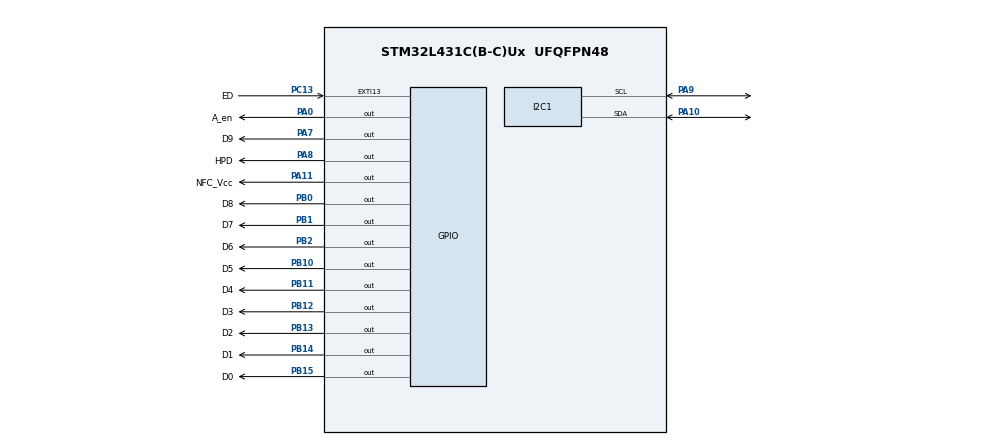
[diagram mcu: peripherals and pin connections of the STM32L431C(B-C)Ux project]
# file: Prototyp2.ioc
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ADC1.Channel-0\#ChannelRegularConversion=ADC_CHANNEL_VREFINT
ADC1.ClockPrescaler=ADC_CLOCK_ASYNC_DIV2
ADC1.NbrOfConversionFlag=1
ADC1.OffsetNumber-0\#ChannelRegularConversion=ADC_OFFSET_NONE
ADC1.Rank-0\#ChannelRegularConversion=1
ADC1.SamplingTime-0\#ChannelRegularConversion=ADC_SAMPLETIME_2CYCLES_5
ADC1.master=1
I2C1.Timing=0x00100D14
Mcu.Family=STM32L4
Mcu.Name=STM32L431C(B-C)Ux
Mcu.Package=UFQFPN48
NVIC.EXTI15_10_IRQn=true\:0\:0\:false\:false\:true\:true\:true\:true
NVIC.PriorityGroup=NVIC_PRIORITYGROUP_4
PA0.GPIO_Label=A_en
PA0.Signal=GPIO_Output
PA10.Mode=I2C
PA10.Signal=I2C1_SDA
PA11.GPIO_Label=NFC_Vcc
PA11.Signal=GPIO_Output
PA7.GPIO_Label=D9
PA7.Signal=GPIO_Output
PA8.GPIO_Label=HPD
PA8.Signal=GPIO_Output
PA9.Mode=I2C
PA9.Signal=I2C1_SCL
PB0.GPIO_Label=D8
PB0.Signal=GPIO_Output
PB1.GPIO_Label=D7
PB1.Signal=GPIO_Output
PB10.GPIO_Label=D5
PB10.Signal=GPIO_Output
PB11.GPIO_Label=D4
PB11.Signal=GPIO_Output
PB12.GPIO_Label=D3
PB12.Signal=GPIO_Output
PB13.GPIO_Label=D2
PB13.Signal=GPIO_Output
PB14.GPIO_Label=D1
PB14.Signal=GPIO_Output
PB15.GPIO_Label=D0
PB15.Signal=GPIO_Output
PB2.GPIO_Label=D6
PB2.Signal=GPIO_Output
PC13.GPIO_Label=ED
PC13.GPIO_ModeDefaultEXTI=GPIO_MODE_IT_FALLING
PC13.Signal=GPXTI13
ProjectManager.HeapSize=0x200
ProjectManager.StackSize=0x400
ProjectManager.TargetToolchain=STM32CubeIDE
RCC.ADCFreq_Value=32000000
RCC.HSE_VALUE=8000000
RCC.HSI48_VALUE=48000000
RCC.HSI_VALUE=16000000
RCC.LSE_VALUE=32768
RCC.MSI_VALUE=4000000
RCC.PLLSAI1N=16
RCC.VCOOutputFreq_Value=32000000
VP_ADC1_Vref_Input.Mode=IN-Vrefint
board=custom

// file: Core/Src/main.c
/* USER CODE BEGIN Header */
/**
  ******************************************************************************
  * @file           : main.c
  * @brief          : Main program body
  ******************************************************************************
  * @attention
  *
  * Copyright (c) 2025 STMicroelectronics.
  * All rights reserved.
  *
  * This software is licensed under terms that can be found in the LICENSE file
  * in the root directory of this software component.
  * If no LICENSE file comes with this software, it is provided AS-IS.
  *
  ******************************************************************************
  */
/* USER CODE END Header */
#include "main.h"

/* USER CODE BEGIN PD */
#define NTP_ADDRESS  0xA8
/* USER CODE END PD */

ADC_HandleTypeDef hadc1;

I2C_HandleTypeDef hi2c1;

/* USER CODE BEGIN PV */

//I2C
uint8_t tx_buffer[6] = {0x00, 0x02, 0xBA, 0xDB, 0x01, 0xBB};
uint8_t rx_address[2] = {0x00, 0x02};
uint8_t rx_buffer[4];

uint8_t text[11][4] = {
		{0x6E, 0x54, 0x68, 0x65},
		{0x20, 0x76, 0x6F, 0x6C},
		{0x74, 0x61, 0x67, 0x65},
		{0X20, 0x6F, 0x66, 0x20},
		{0X74, 0x68, 0x65, 0x20},
		{0x73, 0x75, 0x70, 0x65},
		{0x72, 0x63, 0x61, 0x70},
		{0x61, 0x63, 0x69, 0x74},
		{0x6F, 0x72, 0x20, 0x69},
		{0x73, 0x20, 0x31, 0x2E},
		{0x32, 0x33, 0x20, 0x56}//,{0xFE, 0x00, 0x00, 0x00}
};

//ADC
uint32_t adc_val = 10;
uint32_t voltage = 0;
//uint16_t* VREFINT_CAL_ADDR = 0x1FFF75AA;
//uint16_t VREFINT_CAL = *((uint16_t*)VREFINT_CAL_ADDR); //Data sheet page 39

//MISC
uint8_t count1 = 0;

uint8_t b3 = 0x00;
uint8_t b2 = 0x00;
uint8_t b1 = 0x00;
uint8_t b0 = 0x01;

/* USER CODE END PV */

void SystemClock_Config(void);
static void MX_GPIO_Init(void);
static void MX_I2C1_Init(void);
static void MX_ADC1_Init(void);
/* USER CODE BEGIN PFP */

void NTP_Write_eeprom(uint8_t BL_AD1, uint8_t BL_AD0, uint8_t DATA0, uint8_t DATA1, uint8_t DATA2, uint8_t DATA3);
void NTP_Read_eeprom(uint8_t BL_AD1, uint8_t BL_AD0, uint8_t* target);

void RampUp(void);

/* USER CODE END PFP */

int main(void)
{

  /* MCU Configuration--------------------------------------------------------*/

  /* Reset of all peripherals, Initializes the Flash interface and the Systick. */
  HAL_Init();

  /* Configure the system clock */
  SystemClock_Config();

  /* Initialize all configured peripherals */
  MX_GPIO_Init();
  MX_I2C1_Init();
  MX_ADC1_Init();
  /* USER CODE BEGIN 2 */

   // INITIALIZE NTP5332
   HAL_Delay(50);
   HAL_GPIO_WritePin(NFC_Vcc_GPIO_Port, NFC_Vcc_Pin, 1);
   NTP_Write_eeprom(0x10, 0x3D, 0b00000101,0x00,0x01,0x00);
   HAL_GPIO_WritePin(NFC_Vcc_GPIO_Port, NFC_Vcc_Pin, 0);
   HAL_Delay(50);

   //ADC
   uint16_t VREFINT_CAL = *((uint16_t*)VREFINT_CAL_ADDR); //Data sheet page 39

  /* USER CODE END 2 */

  /* Infinite loop */
   while (1)
   {

    /* USER CODE BEGIN 3 */

 	  //READ CAPACITOR VOLTAGE
 	  HAL_GPIO_WritePin(A_en_GPIO_Port, A_en_Pin, 1);
 	  HAL_Delay(50);

 	  HAL_ADC_Start(&hadc1);

 	  if (HAL_ADC_PollForConversion(&hadc1, 2000) == HAL_OK){

 		  adc_val = HAL_ADC_GetValue(&hadc1);

 		  if (adc_val > 0) {
 			  voltage = VREFINT_CAL * 3000/adc_val; //Reference sheet page 453

 		  } else {
 			  voltage = 0;
 		  }
 	  } else {
 		  voltage = 0;
 	  }

 	  HAL_ADC_Stop(&hadc1);
 	  //HAL_Delay(500);
 	  HAL_GPIO_WritePin(A_en_GPIO_Port, A_en_Pin, 0);

 	  //SHOW VOLTAGE ON INDICATORS
 	if (voltage > 2700) {
 		HAL_GPIO_WritePin(D9_GPIO_Port, D9_Pin, 1);
 	} else if (voltage > 2600) {
 		HAL_GPIO_WritePin(D8_GPIO_Port, D8_Pin, 1);
 	} else if (voltage > 2500) {
 		HAL_GPIO_WritePin(D7_GPIO_Port, D7_Pin, 1);
 	} else if (voltage > 2400) {
 		HAL_GPIO_WritePin(D6_GPIO_Port, D6_Pin, 1);
 	} else if (voltage > 2300) {
 		HAL_GPIO_WritePin(D5_GPIO_Port, D5_Pin, 1);
 	} else if (voltage > 2200) {
 		HAL_GPIO_WritePin(D4_GPIO_Port, D4_Pin, 1);
 	} else if (voltage > 2100) {
 		HAL_GPIO_WritePin(D3_GPIO_Port, D3_Pin, 1);
 	} else if (voltage > 2000) {
 		HAL_GPIO_WritePin(D2_GPIO_Port, D2_Pin, 1);
 	} else if (voltage > 1900) {
 		HAL_GPIO_WritePin(D1_GPIO_Port, D1_Pin, 1);
 	} else if (voltage > 1800) {
 		HAL_GPIO_WritePin(D0_GPIO_Port, D0_Pin, 1);
 	}

 	  //WRITE VOLTAGE TO CHIP
 	  //Prepare data
 	  b3 = (uint8_t)((voltage/1000) % 10); //(uint8_t)(voltage>>24);
 	  b2 = (uint8_t)((voltage/100) % 10); //(uint8_t)(voltage>>16);
 	  b1 = (uint8_t)((voltage/10) % 10); //(uint8_t)(voltage>>8);
 	  b0 = (uint8_t)(voltage % 10); //(uint8_t)(voltage>>0);

 	  //Send data

 	 HAL_Delay(50);

 	 // for (uint8_t i = 0; i<=11; ++i){
 	//	 NTP_Write_eeprom(0x00, i+3, text[i][0], text[i][1], text[i][2], text[i][3]);
 	//	 HAL_Delay(50);
 	 // }

 	HAL_GPIO_WritePin(NFC_Vcc_GPIO_Port, NFC_Vcc_Pin, 1);
 	  HAL_Delay(50);
 	  NTP_Write_eeprom(0x00, 0x0C, 0x73, 0x20, b3|0x30, 0x2E);
 	  HAL_Delay(50); //Delay necessary
 	  NTP_Write_eeprom(0x00, 0x0D, b2|0x30, b1|0x30, 0x20, 0x56);

 	  HAL_Delay(1000);

 	//Turn off indicators
	HAL_GPIO_WritePin(D9_GPIO_Port, D9_Pin, 0);
	HAL_GPIO_WritePin(D8_GPIO_Port, D8_Pin, 0);
	HAL_GPIO_WritePin(D7_GPIO_Port, D7_Pin, 0);
	HAL_GPIO_WritePin(D6_GPIO_Port, D6_Pin, 0);
	HAL_GPIO_WritePin(D5_GPIO_Port, D5_Pin, 0);
	HAL_GPIO_WritePin(D4_GPIO_Port, D4_Pin, 0);
	HAL_GPIO_WritePin(D3_GPIO_Port, D3_Pin, 0);
	HAL_GPIO_WritePin(D2_GPIO_Port, D2_Pin, 0);
	HAL_GPIO_WritePin(D1_GPIO_Port, D1_Pin, 0);
	HAL_GPIO_WritePin(D0_GPIO_Port, D0_Pin, 0);

 	  //ENTER STOPMODE
	HAL_GPIO_WritePin(NFC_Vcc_GPIO_Port, NFC_Vcc_Pin, 0);
 	HAL_SuspendTick();
	HAL_PWREx_EnterSTOP2Mode(PWR_SLEEPENTRY_WFI);
 	HAL_ResumeTick();

 	HAL_GPIO_WritePin(NFC_Vcc_GPIO_Port, NFC_Vcc_Pin, 1);
 	HAL_ADC_MspInit(&hadc1);
    }

  /* USER CODE END 3 */
}

void SystemClock_Config(void)
{
  RCC_OscInitTypeDef RCC_OscInitStruct = {0};
  RCC_ClkInitTypeDef RCC_ClkInitStruct = {0};

  /** Configure the main internal regulator output voltage
  */
  if (HAL_PWREx_ControlVoltageScaling(PWR_REGULATOR_VOLTAGE_SCALE1) != HAL_OK)
  {
    Error_Handler();
  }

  /** Initializes the RCC Oscillators according to the specified parameters
  * in the RCC_OscInitTypeDef structure.
  */
  RCC_OscInitStruct.OscillatorType = RCC_OSCILLATORTYPE_MSI;
  RCC_OscInitStruct.MSIState = RCC_MSI_ON;
  RCC_OscInitStruct.MSICalibrationValue = 0;
  RCC_OscInitStruct.MSIClockRange = RCC_MSIRANGE_6;
  RCC_OscInitStruct.PLL.PLLState = RCC_PLL_NONE;
  if (HAL_RCC_OscConfig(&RCC_OscInitStruct) != HAL_OK)
  {
    Error_Handler();
  }

  /** Initializes the CPU, AHB and APB buses clocks
  */
  RCC_ClkInitStruct.ClockType = RCC_CLOCKTYPE_HCLK|RCC_CLOCKTYPE_SYSCLK
                              |RCC_CLOCKTYPE_PCLK1|RCC_CLOCKTYPE_PCLK2;
  RCC_ClkInitStruct.SYSCLKSource = RCC_SYSCLKSOURCE_MSI;
  RCC_ClkInitStruct.AHBCLKDivider = RCC_SYSCLK_DIV1;
  RCC_ClkInitStruct.APB1CLKDivider = RCC_HCLK_DIV1;
  RCC_ClkInitStruct.APB2CLKDivider = RCC_HCLK_DIV1;

  if (HAL_RCC_ClockConfig(&RCC_ClkInitStruct, FLASH_LATENCY_0) != HAL_OK)
  {
    Error_Handler();
  }
}

static void MX_ADC1_Init(void)
{

  ADC_ChannelConfTypeDef sConfig = {0};

  /** Common config
  */
  hadc1.Instance = ADC1;
  hadc1.Init.ClockPrescaler = ADC_CLOCK_ASYNC_DIV2;
  hadc1.Init.Resolution = ADC_RESOLUTION_12B;
  hadc1.Init.DataAlign = ADC_DATAALIGN_RIGHT;
  hadc1.Init.ScanConvMode = ADC_SCAN_DISABLE;
  hadc1.Init.EOCSelection = ADC_EOC_SINGLE_CONV;
  hadc1.Init.LowPowerAutoWait = DISABLE;
  hadc1.Init.ContinuousConvMode = DISABLE;
  hadc1.Init.NbrOfConversion = 1;
  hadc1.Init.DiscontinuousConvMode = DISABLE;
  hadc1.Init.ExternalTrigConv = ADC_SOFTWARE_START;
  hadc1.Init.ExternalTrigConvEdge = ADC_EXTERNALTRIGCONVEDGE_NONE;
  hadc1.Init.DMAContinuousRequests = DISABLE;
  hadc1.Init.Overrun = ADC_OVR_DATA_PRESERVED;
  hadc1.Init.OversamplingMode = DISABLE;
  if (HAL_ADC_Init(&hadc1) != HAL_OK)
  {
    Error_Handler();
  }

  /** Configure Regular Channel
  */
  sConfig.Channel = ADC_CHANNEL_VREFINT;
  sConfig.Rank = ADC_REGULAR_RANK_1;
  sConfig.SamplingTime = ADC_SAMPLETIME_2CYCLES_5;
  sConfig.SingleDiff = ADC_SINGLE_ENDED;
  sConfig.OffsetNumber = ADC_OFFSET_NONE;
  sConfig.Offset = 0;
  if (HAL_ADC_ConfigChannel(&hadc1, &sConfig) != HAL_OK)
  {
    Error_Handler();
  }

}

static void MX_I2C1_Init(void)
{

  hi2c1.Instance = I2C1;
  hi2c1.Init.Timing = 0x00100D14;
  hi2c1.Init.OwnAddress1 = 0;
  hi2c1.Init.AddressingMode = I2C_ADDRESSINGMODE_7BIT;
  hi2c1.Init.DualAddressMode = I2C_DUALADDRESS_DISABLE;
  hi2c1.Init.OwnAddress2 = 0;
  hi2c1.Init.OwnAddress2Masks = I2C_OA2_NOMASK;
  hi2c1.Init.GeneralCallMode = I2C_GENERALCALL_DISABLE;
  hi2c1.Init.NoStretchMode = I2C_NOSTRETCH_DISABLE;
  if (HAL_I2C_Init(&hi2c1) != HAL_OK)
  {
    Error_Handler();
  }

  /** Configure Analogue filter
  */
  if (HAL_I2CEx_ConfigAnalogFilter(&hi2c1, I2C_ANALOGFILTER_ENABLE) != HAL_OK)
  {
    Error_Handler();
  }

  /** Configure Digital filter
  */
  if (HAL_I2CEx_ConfigDigitalFilter(&hi2c1, 0) != HAL_OK)
  {
    Error_Handler();
  }

}

static void MX_GPIO_Init(void)
{
  GPIO_InitTypeDef GPIO_InitStruct = {0};

  /* GPIO Ports Clock Enable */
  __HAL_RCC_GPIOC_CLK_ENABLE();
  __HAL_RCC_GPIOA_CLK_ENABLE();
  __HAL_RCC_GPIOB_CLK_ENABLE();

  /*Configure GPIO pin Output Level */
  HAL_GPIO_WritePin(GPIOA, A_en_Pin|D9_Pin|HPD_Pin|NFC_Vcc_Pin, GPIO_PIN_RESET);

  /*Configure GPIO pin Output Level */
  HAL_GPIO_WritePin(GPIOB, D8_Pin|D7_Pin|D6_Pin|D5_Pin
                          |D4_Pin|D3_Pin|D2_Pin|D1_Pin
                          |D0_Pin, GPIO_PIN_RESET);

  /*Configure GPIO pin : ED_Pin */
  GPIO_InitStruct.Pin = ED_Pin;
  GPIO_InitStruct.Mode = GPIO_MODE_IT_FALLING;
  GPIO_InitStruct.Pull = GPIO_NOPULL;
  HAL_GPIO_Init(ED_GPIO_Port, &GPIO_InitStruct);

  /*Configure GPIO pins : A_en_Pin D9_Pin HPD_Pin NFC_Vcc_Pin */
  GPIO_InitStruct.Pin = A_en_Pin|D9_Pin|HPD_Pin|NFC_Vcc_Pin;
  GPIO_InitStruct.Mode = GPIO_MODE_OUTPUT_PP;
  GPIO_InitStruct.Pull = GPIO_NOPULL;
  GPIO_InitStruct.Speed = GPIO_SPEED_FREQ_LOW;
  HAL_GPIO_Init(GPIOA, &GPIO_InitStruct);

  /*Configure GPIO pins : D8_Pin D7_Pin D6_Pin D5_Pin
                           D4_Pin D3_Pin D2_Pin D1_Pin
                           D0_Pin */
  GPIO_InitStruct.Pin = D8_Pin|D7_Pin|D6_Pin|D5_Pin
                          |D4_Pin|D3_Pin|D2_Pin|D1_Pin
                          |D0_Pin;
  GPIO_InitStruct.Mode = GPIO_MODE_OUTPUT_PP;
  GPIO_InitStruct.Pull = GPIO_NOPULL;
  GPIO_InitStruct.Speed = GPIO_SPEED_FREQ_LOW;
  HAL_GPIO_Init(GPIOB, &GPIO_InitStruct);

  /* EXTI interrupt init*/
  HAL_NVIC_SetPriority(EXTI15_10_IRQn, 0, 0);
  HAL_NVIC_EnableIRQ(EXTI15_10_IRQn);

}

/* USER CODE BEGIN 4 */

void NTP_Write_eeprom(uint8_t BL_AD1, uint8_t BL_AD0, uint8_t DATA0, uint8_t DATA1, uint8_t DATA2, uint8_t DATA3){

	uint8_t tx_buff[6] = {BL_AD1, BL_AD0, DATA0, DATA1, DATA2, DATA3};

	HAL_I2C_Master_Transmit(&hi2c1, NTP_ADDRESS, tx_buff, 6, 2);

}

void NTP_Read_eeprom(uint8_t BL_AD1, uint8_t BL_AD0, uint8_t* target){

	uint8_t rx_add[2] = {BL_AD1, BL_AD0};

	HAL_I2C_Master_Transmit(&hi2c1, NTP_ADDRESS, rx_add, 2, 2);
	HAL_I2C_Master_Receive(&hi2c1, NTP_ADDRESS, target, 4, 1);
}

void RampUp(void) {
		HAL_GPIO_TogglePin(D0_GPIO_Port, D0_Pin);
	  	HAL_Delay(50);
	  	HAL_GPIO_TogglePin(D0_GPIO_Port, D0_Pin);
	  	HAL_GPIO_TogglePin(D1_GPIO_Port, D1_Pin);
	  	HAL_Delay(50);
	  	HAL_GPIO_TogglePin(D1_GPIO_Port, D1_Pin);
	  	HAL_GPIO_TogglePin(D2_GPIO_Port, D2_Pin);
	  	HAL_Delay(50);
	  	HAL_GPIO_TogglePin(D2_GPIO_Port, D2_Pin);
	  	HAL_GPIO_TogglePin(D3_GPIO_Port, D3_Pin);
	  	HAL_Delay(50);
	  	HAL_GPIO_TogglePin(D3_GPIO_Port, D3_Pin);
	  	HAL_GPIO_TogglePin(D4_GPIO_Port, D4_Pin);
	  	HAL_Delay(50);
	  	HAL_GPIO_TogglePin(D4_GPIO_Port, D4_Pin);
	  	HAL_GPIO_TogglePin(D5_GPIO_Port, D5_Pin);
	  	HAL_Delay(50);
	  	HAL_GPIO_TogglePin(D5_GPIO_Port, D5_Pin);
	  	HAL_GPIO_TogglePin(D6_GPIO_Port, D6_Pin);
	  	HAL_Delay(50);
	  	HAL_GPIO_TogglePin(D6_GPIO_Port, D6_Pin);
	  	HAL_GPIO_TogglePin(D7_GPIO_Port, D7_Pin);
	  	HAL_Delay(50);
	  	HAL_GPIO_TogglePin(D7_GPIO_Port, D7_Pin);
	  	HAL_GPIO_TogglePin(D8_GPIO_Port, D8_Pin);
	  	HAL_Delay(50);
	  	HAL_GPIO_TogglePin(D8_GPIO_Port, D8_Pin);
	  	HAL_GPIO_TogglePin(D9_GPIO_Port, D9_Pin);
	  	HAL_Delay(50);
	  	HAL_GPIO_TogglePin(D9_GPIO_Port, D9_Pin);
}

/* USER CODE END 4 */

void Error_Handler(void)
{
  __disable_irq();
  while (1)
  {
  }
}
